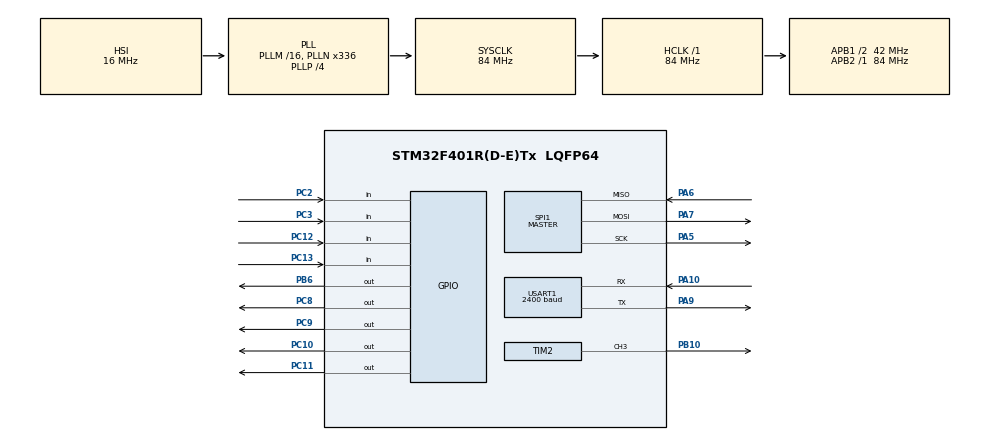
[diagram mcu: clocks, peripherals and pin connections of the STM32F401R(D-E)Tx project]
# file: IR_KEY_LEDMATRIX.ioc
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Dma.Request0=SPI1_TX
Dma.SPI1_TX.0.Direction=DMA_MEMORY_TO_PERIPH
Dma.SPI1_TX.0.FIFOMode=DMA_FIFOMODE_DISABLE
Dma.SPI1_TX.0.Instance=DMA2_Stream3
Dma.SPI1_TX.0.MemDataAlignment=DMA_MDATAALIGN_BYTE
Dma.SPI1_TX.0.MemInc=DMA_MINC_ENABLE
Dma.SPI1_TX.0.Mode=DMA_NORMAL
Dma.SPI1_TX.0.PeriphDataAlignment=DMA_PDATAALIGN_BYTE
Dma.SPI1_TX.0.PeriphInc=DMA_PINC_DISABLE
Dma.SPI1_TX.0.Priority=DMA_PRIORITY_HIGH
Mcu.Family=STM32F4
Mcu.Name=STM32F401R(D-E)Tx
Mcu.Package=LQFP64
NVIC.DMA2_Stream3_IRQn=true\:0\:0\:false\:false\:true\:false\:true\:true
NVIC.PriorityGroup=NVIC_PRIORITYGROUP_4
NVIC.SPI1_IRQn=true\:0\:0\:false\:false\:true\:true\:true\:true
NVIC.TIM3_IRQn=true\:0\:0\:false\:false\:true\:true\:true\:true
NVIC.TIM4_IRQn=true\:2\:0\:true\:false\:true\:true\:true\:true
NVIC.TIM5_IRQn=true\:3\:0\:true\:false\:true\:true\:true\:true
NVIC.USART1_IRQn=true\:1\:0\:true\:false\:true\:true\:true\:true
PA10.Mode=Asynchronous
PA10.Signal=USART1_RX
PA13.GPIO_Label=TMS
PA13.Mode=Trace_Asynchronous_SW
PA13.Signal=SYS_JTMS-SWDIO
PA14.GPIO_Label=TCK
PA14.Mode=Trace_Asynchronous_SW
PA14.Signal=SYS_JTCK-SWCLK
PA5.Mode=Full_Duplex_Master
PA5.Signal=SPI1_SCK
PA6.Mode=Full_Duplex_Master
PA6.Signal=SPI1_MISO
PA7.Mode=Full_Duplex_Master
PA7.Signal=SPI1_MOSI
PA9.Mode=Asynchronous
PA9.Signal=USART1_TX
PB10.Signal=S_TIM2_CH3
PB3.GPIO_Label=SWO
PB3.Mode=Trace_Asynchronous_SW
PB3.Signal=SYS_JTDO-SWO
PB6.Signal=GPIO_Output
PC10.Signal=GPIO_Output
PC11.Signal=GPIO_Output
PC12.Signal=GPIO_Input
PC13-ANTI_TAMP.Signal=GPIO_Input
PC14-OSC32_IN.Mode=LSE-External-Oscillator
PC14-OSC32_IN.Signal=RCC_OSC32_IN
PC15-OSC32_OUT.Mode=LSE-External-Oscillator
PC15-OSC32_OUT.Signal=RCC_OSC32_OUT
PC2.Signal=GPIO_Input
PC3.Signal=GPIO_Input
PC8.Signal=GPIO_Output
PC9.Signal=GPIO_Output
PH0\ -\ OSC_IN.Mode=HSE-External-Clock-Source
PH0\ -\ OSC_IN.Signal=RCC_OSC_IN
PH1\ -\ OSC_OUT.Mode=HSE-External-Clock-Source
PH1\ -\ OSC_OUT.Signal=RCC_OSC_OUT
ProjectManager.HeapSize=0x200
ProjectManager.StackSize=0x400
ProjectManager.TargetToolchain=STM32CubeIDE
RCC.48MHZClocksFreq_Value=48000000
RCC.AHBFreq_Value=84000000
RCC.APB1CLKDivider=RCC_HCLK_DIV2
RCC.APB1Freq_Value=42000000
RCC.APB1TimFreq_Value=84000000
RCC.APB2Freq_Value=84000000
RCC.APB2TimFreq_Value=84000000
RCC.CortexFreq_Value=84000000
RCC.HCLKFreq_Value=84000000
RCC.HSE_VALUE=8000000
RCC.HSI_VALUE=16000000
RCC.PLLN=336
RCC.PLLP=RCC_PLLP_DIV4
RCC.PLLQ=7
RCC.SYSCLKFreq_VALUE=84000000
RCC.SYSCLKSource=RCC_SYSCLKSOURCE_PLLCLK
RCC.VCOOutputFreq_Value=336000000
SH.S_TIM2_CH3.0=TIM2_CH3,PWM Generation3 CH3
SPI1.BaudRatePrescaler=SPI_BAUDRATEPRESCALER_4
SPI1.Direction=SPI_DIRECTION_2LINES
SPI1.Mode=SPI_MODE_MASTER
SPI1.VirtualType=VM_MASTER
TIM2.Channel-PWM\ Generation3\ CH3=TIM_CHANNEL_3
TIM2.Period=9
TIM2.Prescaler=220
TIM2.Pulse-PWM\ Generation3\ CH3=5
TIM3.Period=99
TIM3.Prescaler=349
TIM4.Period=19
TIM4.Prescaler=8399
TIM5.Period=3359
TIM5.Prescaler=99
USART1.BaudRate=2400
USART1.VirtualMode=VM_ASYNC
VP_TIM2_VS_ClockSourceINT.Mode=Internal
VP_TIM3_VS_ClockSourceINT.Mode=Internal
VP_TIM4_VS_ClockSourceINT.Mode=Internal
VP_TIM5_VS_ClockSourceINT.Mode=Internal
board=NUCLEO-F401RE

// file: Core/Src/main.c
/* USER CODE BEGIN Header */
/**
  ******************************************************************************
  * @file           : main.c
  * @brief          : Main program body
  ******************************************************************************
  * @attention
  *
  * Copyright (c) 2026 STMicroelectronics.
  * All rights reserved.
  *
  * This software is licensed under terms that can be found in the LICENSE file
  * in the root directory of this software component.
  * If no LICENSE file comes with this software, it is provided AS-IS.
  *
  ******************************************************************************
  */
/* USER CODE END Header */
#include "main.h"

/* USER CODE BEGIN Includes */
#include "stdio.h"
#include "string.h"

/* USER CODE END Includes */

/* USER CODE BEGIN PTD */
// Stati Tx IR
typedef enum {
    TX_STATE_IDLE  = 0,
    TX_STATE_START = 1,
    TX_STATE_DATA  = 2,
    TX_STATE_STOP  = 3
} TxState_t;

// Keyboard
typedef struct {
	char character;
	uint8_t duration;
	uint8_t sent;
	uint8_t idx;
} button;

typedef struct {
    GPIO_TypeDef* port;
    uint16_t pin;
} PinMap;
/* USER CODE END PTD */

/* USER CODE BEGIN PD */
// KEYBOARD
// Keyboard Rows/Columns
#define KEY_C0 GPIOC,GPIO_PIN_11
#define KEY_C1 GPIOC,GPIO_PIN_10
#define KEY_C2 GPIOC,GPIO_PIN_9
#define KEY_C3 GPIOC,GPIO_PIN_8
#define KEY_R0 GPIOC,GPIO_PIN_3
#define KEY_R1 GPIOC,GPIO_PIN_2
#define KEY_R2 GPIOC,GPIO_PIN_13
#define KEY_R3 GPIOC,GPIO_PIN_12

// Keyboard Dimension
#define DIM 4

// Keyboard Buttons
#define DEBOUNCE 3
#define MAX_DURATION 250

// LED MATRIX
#define NUM_COLS_LED 5
#define NUM_SYMBOLS 16
#define RCLK_PORT GPIOB
#define RCLK_PIN  GPIO_PIN_6

/* USER CODE END PD */

SPI_HandleTypeDef hspi1;
DMA_HandleTypeDef hdma_spi1_tx;

TIM_HandleTypeDef htim2;
TIM_HandleTypeDef htim3;
TIM_HandleTypeDef htim4;
TIM_HandleTypeDef htim5;

UART_HandleTypeDef huart1;

/* USER CODE BEGIN PV */
// KEYBOARD
PinMap columns[] = {
    { KEY_C3 },
    { KEY_C2 },
    { KEY_C1 },
    { KEY_C0 }
};

PinMap rows[] = {
    { KEY_R0 },
    { KEY_R1 },
    { KEY_R2 },
    { KEY_R3 }
};

volatile button keyboard[DIM][DIM] = {
    { {'C', 0, 0, 12}, {'D', 0, 0, 13}, {'E', 0, 0, 14}, {'F', 0, 0, 15} },
    { {'8', 0, 0, 8}, {'9', 0, 0, 9}, {'A', 0, 0, 10}, {'B', 0, 0, 11} },
    { {'4', 0, 0, 4}, {'5', 0, 0, 5}, {'6', 0, 0, 6}, {'7', 0, 0, 7} },
    { {'0', 0, 0, 0}, {'1', 0, 0, 1}, {'2', 0, 0, 2}, {'3', 0, 0, 3} }
};

uint8_t active_col = 0;

// TX IR
volatile uint8_t  tx_data_buffer = 'G';
volatile uint8_t  bit_counter = 0;
volatile TxState_t tx_state = TX_STATE_IDLE;

// RX IR
uint8_t rx_data_buffer; // Byte ricevuto dall'IR
volatile uint8_t ir_received_char = 0;
volatile uint8_t ir_data_ready = 0;

// LED MATRIX
static const uint8_t COL_LED[NUM_COLS_LED] = {16, 8, 4, 2, 1};
static const uint8_t SYMBOLS[NUM_SYMBOLS+1][NUM_COLS_LED] = {
    { 62,  69,  73,  81,  62}, // '0'
    {  0,  33, 127,   1,   0}, // '1'
    { 33,  67,  69,  73,  49}, // '2'
    { 34,  65,  73,  73,  54}, // '3'
    { 12,  20,  36, 127,   4}, // '4'
    {114,  81,  81,  81,  78}, // '5'
    { 30,  41,  73,  73,   6}, // '6'
    { 64,  71,  72,  80,  96}, // '7'
    { 54,  73,  73,  73,  54}, // '8'
    { 48,  73,  73,  74,  60}, // '9'
    { 63,  72,  72,  72,  63}, // 'A'
    {127,  73,  73,  73,  54}, // 'B'
    { 62,  65,  65,  65,  34}, // 'C'
    {127,  65,  65,  65,  62}, // 'D'
    {127,  73,  73,  73,  65}, // 'E'
    {127,  72,  72,  72,  64}, // 'F'
    {  0,   0,   0,   0,   0}  // spento
};
static volatile uint8_t sym_idx = NUM_SYMBOLS;   // cosa mostra la matrice (spenta se NUM_SYMBOLS)
static uint8_t col_cnt = 0;                // colonna della matrice in refresh

/* USER CODE END PV */

void SystemClock_Config(void);
static void MX_GPIO_Init(void);
static void MX_DMA_Init(void);
static void MX_TIM2_Init(void);
static void MX_TIM3_Init(void);
static void MX_TIM4_Init(void);
static void MX_USART1_UART_Init(void);
static void MX_SPI1_Init(void);
static void MX_TIM5_Init(void);

/* USER CODE BEGIN 0 */
static inline void spi_send(uint8_t col, uint8_t row){
	static uint8_t buffer[2]; // 2 byte
	// DAISY RING
	buffer[0]=row; // prima la riga
	buffer[1]=col; // poi la colonna

	// Ogni 4 ms trasmettiamo (refreshamo)
	HAL_SPI_Transmit_DMA(&hspi1, buffer, 2);
}

void HAL_SPI_TxCpltCallback(SPI_HandleTypeDef *hspi){
	if(hspi->Instance==SPI1){
		// Una volta terminata la comunicazione dei 2 byte
		// diamo un impulso su RCLK per far scattare il latch
		// dei due shift register
		HAL_GPIO_WritePin(RCLK_PORT, RCLK_PIN, GPIO_PIN_SET);
		HAL_GPIO_WritePin(RCLK_PORT, RCLK_PIN, GPIO_PIN_RESET);
	}
}

// Avvia l'invio di un singolo byte tramite IR UART
void IR_UART_SendByte(uint8_t data)
{
    // Solo se il canale TX è libero posso iniziare nuova trasmissione(IDLE)
    if (tx_state == TX_STATE_IDLE)
    {
        tx_data_buffer = data;
        tx_state = TX_STATE_START;      // Ci prepariamo a inviare lo Start Bit

        __HAL_TIM_SET_COUNTER(&htim3, 0); // Azzera CNT di TIM3 affinchè lo Start Bit duri un bit time pieno
        // e non di meno perchè magari CNT era ad un altro valore. CNT arriva a ARR (99) prima di andare in
        // overflow e scattare l'ISR, se dalla scorsa ricezione CNT era ad un altro valore non conta fino a
        // 100 ma di meno
        HAL_TIM_Base_Start_IT(&htim3); // TIM3 (2400 Hz) scandisce i bit nella Trasmissione IR
    }
}

void HAL_TIM_PeriodElapsedCallback(TIM_HandleTypeDef *htim)
{
    if (htim->Instance == TIM3) // 2400 Hz, scandisce i bit da mandare (TX IR)
    {
        switch (tx_state)
        {
            case TX_STATE_IDLE:
            	// HIGH -> LED OFF
                HAL_TIM_PWM_Stop(&htim2, TIM_CHANNEL_3);
                break;

            case TX_STATE_START:
            	// START BIT = LOW -> LED ON per 1/2400 s
                HAL_TIM_PWM_Start(&htim2, TIM_CHANNEL_3); // IR LED ON
                tx_state = TX_STATE_DATA; // Passa alla gestione dati
                bit_counter = 0;          // Resetta contatore bit dati
                break;

            case TX_STATE_DATA:
            	// Inviamo 8 bit
            	// Bit Masking
            	// Esempio '1': 0(1)00 0001  >> 6  =  0000 000(1)
            	// 0000 000(1) & 0000 0001 = 0000 0001
            	// Esempio '1': (0)100 0001  >> 7  =  0000 000(0)
				// 0000 000(0) & 0000 0001 = 0000 0000

                if (((tx_data_buffer >> bit_counter) & 0x01) == 0)
                {
                    // 0 -> LED ON
                	HAL_TIM_PWM_Start(&htim2, TIM_CHANNEL_3);
                }
                else
                {
                    // 1 -> LED OFF
                	HAL_TIM_PWM_Stop(&htim2, TIM_CHANNEL_3);
                }

                bit_counter++; // Avanziamo nel buffer

                if (bit_counter >= 8) // Quando abbiamo finito
                {
                    tx_state = TX_STATE_STOP;
                }
                break;

            case TX_STATE_STOP:
            	// STOP BIT = HIGH -> LED OFF
                HAL_TIM_PWM_Stop(&htim2, TIM_CHANNEL_3);

                // Ritorniamo in IDLE
                tx_state = TX_STATE_IDLE;
                // Finchè non premiamo altri tasti non abbiamo bisogno della Callback a 2400Hz
                HAL_TIM_Base_Stop_IT(&htim3);
                break;
        }
    }

    if (htim->Instance == TIM4) { // 500 Hz (scansione colonne KEYBOARD)
    	        for(int r=0; r<DIM; r++){
    	        	// Se il tasto è premuto
    	            if(HAL_GPIO_ReadPin(rows[r].port, rows[r].pin) == GPIO_PIN_RESET){
    	            	// Se è premuto da poco
    	                if(keyboard[r][active_col].duration < MAX_DURATION ) {
    	                    keyboard[r][active_col].duration++; // Aggiorniamo
    	                }
    	            } else { // Se il tasto non è premuto azzeriamo tutto
    	                keyboard[r][active_col].duration = 0;
    	                keyboard[r][active_col].sent = 0;
    	            }
    	        }
    	        // Deselezioniamo la colonna appena letta
    	        HAL_GPIO_WritePin(columns[active_col].port, columns[active_col].pin, GPIO_PIN_RESET);

    	        // Aggiorniamo la colonna da attivare
    	        active_col=(active_col+1) % DIM;

    	        // Attiviamo la nuova colonna
    	        HAL_GPIO_WritePin(columns[active_col].port, columns[active_col].pin, GPIO_PIN_SET);
	}

    if (htim->Instance == TIM5) { // 4ms, refresh colonne
    	spi_send(COL_LED[col_cnt], SYMBOLS[sym_idx][col_cnt]);
    	col_cnt=(col_cnt+1)%NUM_COLS_LED;
    }

}

void HAL_UART_RxCpltCallback(UART_HandleTypeDef *huart)
{
    if (huart->Instance == USART1)
    {
    	ir_received_char = rx_data_buffer;
    	ir_data_ready = 1; // Siamo pronti a scrivere sulla matrice Led
        HAL_UART_Receive_IT(&huart1, &rx_data_buffer, 1); // ci rimettiamo in ascolto
    }

}

/* Logica ASCII nel while
 * static uint8_t char_to_idx(uint8_t c)
{
    if (c >= '0' && c <= '9') return c - '0';
    if (c >= 'A' && c <= 'F') return c - 'A' + 10;
    return NUM_SYMBOLS;   // carattere sconosciuto -> matrice spenta
}
 */

/* USER CODE END 0 */

int main(void)
{

  /* MCU Configuration--------------------------------------------------------*/

  /* Reset of all peripherals, Initializes the Flash interface and the Systick. */
  HAL_Init();

  /* Configure the system clock */
  SystemClock_Config();

  /* Initialize all configured peripherals */
  MX_GPIO_Init();
  MX_DMA_Init();
  MX_TIM2_Init();
  MX_TIM3_Init();
  MX_TIM4_Init();
  MX_USART1_UART_Init();
  MX_SPI1_Init();
  MX_TIM5_Init();
  /* USER CODE BEGIN 2 */

  // Prepara alla ricezione la UART1
  HAL_UART_Receive_IT(&huart1, &rx_data_buffer, 1);

  // Prepara la scansione della keyboard
  HAL_TIM_Base_Start_IT(&htim4);
  HAL_GPIO_WritePin(columns[active_col].port, columns[active_col].pin, GPIO_PIN_SET);

  // Matrice Led
  HAL_TIM_Base_Start_IT(&htim5);

  /* USER CODE END 2 */

  /* Infinite loop */
  while (1)
  {

    /* USER CODE BEGIN 3 */
	  // --- KEYBOARD SCANNING ---
	  	  for(int j=0;j<DIM;j++){
	  	  		  for(int i=0;i<DIM;i++){
	  	  			  if((keyboard[i][j].duration>=DEBOUNCE)&&(keyboard[i][j].sent==0) ){
	  	  				  IR_UART_SendByte(keyboard[i][j].character);
	  	  				  keyboard[i][j].sent=1;
	  	  			  }
	  	  		  }
	  	  }

	  	  // MATRICE LED
	  	  if (ir_data_ready==1){
	  		  // Cerca l'idx del simbolo da mostrare

	  		  // Tramite i for
	  		  for (int j=0; j<DIM; j++){
	  			  for (int i=0; i<DIM; i++){
	  				  if(ir_received_char == keyboard[i][j].character){
	  					  sym_idx=keyboard[i][j].idx;
	  				  }
	  			  }
	  		  }
	  		  ir_data_ready = 0;

	  		  /* o tramite la logica ASCII
	  		   * if (ir_data_ready) {
					sym_idx = char_to_idx(ir_received_char);
					ir_data_ready = 0;
				}
	  		   */
	  	  }

  }
  /* USER CODE END 3 */
}

void SystemClock_Config(void)
{
  RCC_OscInitTypeDef RCC_OscInitStruct = {0};
  RCC_ClkInitTypeDef RCC_ClkInitStruct = {0};

  /** Configure the main internal regulator output voltage
  */
  __HAL_RCC_PWR_CLK_ENABLE();
  __HAL_PWR_VOLTAGESCALING_CONFIG(PWR_REGULATOR_VOLTAGE_SCALE2);

  /** Initializes the RCC Oscillators according to the specified parameters
  * in the RCC_OscInitTypeDef structure.
  */
  RCC_OscInitStruct.OscillatorType = RCC_OSCILLATORTYPE_HSI;
  RCC_OscInitStruct.HSIState = RCC_HSI_ON;
  RCC_OscInitStruct.HSICalibrationValue = RCC_HSICALIBRATION_DEFAULT;
  RCC_OscInitStruct.PLL.PLLState = RCC_PLL_ON;
  RCC_OscInitStruct.PLL.PLLSource = RCC_PLLSOURCE_HSI;
  RCC_OscInitStruct.PLL.PLLM = 16;
  RCC_OscInitStruct.PLL.PLLN = 336;
  RCC_OscInitStruct.PLL.PLLP = RCC_PLLP_DIV4;
  RCC_OscInitStruct.PLL.PLLQ = 7;
  if (HAL_RCC_OscConfig(&RCC_OscInitStruct) != HAL_OK)
  {
    Error_Handler();
  }

  /** Initializes the CPU, AHB and APB buses clocks
  */
  RCC_ClkInitStruct.ClockType = RCC_CLOCKTYPE_HCLK|RCC_CLOCKTYPE_SYSCLK
                              |RCC_CLOCKTYPE_PCLK1|RCC_CLOCKTYPE_PCLK2;
  RCC_ClkInitStruct.SYSCLKSource = RCC_SYSCLKSOURCE_PLLCLK;
  RCC_ClkInitStruct.AHBCLKDivider = RCC_SYSCLK_DIV1;
  RCC_ClkInitStruct.APB1CLKDivider = RCC_HCLK_DIV2;
  RCC_ClkInitStruct.APB2CLKDivider = RCC_HCLK_DIV1;

  if (HAL_RCC_ClockConfig(&RCC_ClkInitStruct, FLASH_LATENCY_2) != HAL_OK)
  {
    Error_Handler();
  }
}

static void MX_SPI1_Init(void)
{

  /* SPI1 parameter configuration*/
  hspi1.Instance = SPI1;
  hspi1.Init.Mode = SPI_MODE_MASTER;
  hspi1.Init.Direction = SPI_DIRECTION_2LINES;
  hspi1.Init.DataSize = SPI_DATASIZE_8BIT;
  hspi1.Init.CLKPolarity = SPI_POLARITY_LOW;
  hspi1.Init.CLKPhase = SPI_PHASE_1EDGE;
  hspi1.Init.NSS = SPI_NSS_SOFT;
  hspi1.Init.BaudRatePrescaler = SPI_BAUDRATEPRESCALER_4;
  hspi1.Init.FirstBit = SPI_FIRSTBIT_MSB;
  hspi1.Init.TIMode = SPI_TIMODE_DISABLE;
  hspi1.Init.CRCCalculation = SPI_CRCCALCULATION_DISABLE;
  hspi1.Init.CRCPolynomial = 10;
  if (HAL_SPI_Init(&hspi1) != HAL_OK)
  {
    Error_Handler();
  }

}

static void MX_TIM2_Init(void)
{

  TIM_ClockConfigTypeDef sClockSourceConfig = {0};
  TIM_MasterConfigTypeDef sMasterConfig = {0};
  TIM_OC_InitTypeDef sConfigOC = {0};

  htim2.Instance = TIM2;
  htim2.Init.Prescaler = 220;
  htim2.Init.CounterMode = TIM_COUNTERMODE_UP;
  htim2.Init.Period = 9;
  htim2.Init.ClockDivision = TIM_CLOCKDIVISION_DIV1;
  htim2.Init.AutoReloadPreload = TIM_AUTORELOAD_PRELOAD_DISABLE;
  if (HAL_TIM_Base_Init(&htim2) != HAL_OK)
  {
    Error_Handler();
  }
  sClockSourceConfig.ClockSource = TIM_CLOCKSOURCE_INTERNAL;
  if (HAL_TIM_ConfigClockSource(&htim2, &sClockSourceConfig) != HAL_OK)
  {
    Error_Handler();
  }
  if (HAL_TIM_PWM_Init(&htim2) != HAL_OK)
  {
    Error_Handler();
  }
  sMasterConfig.MasterOutputTrigger = TIM_TRGO_RESET;
  sMasterConfig.MasterSlaveMode = TIM_MASTERSLAVEMODE_DISABLE;
  if (HAL_TIMEx_MasterConfigSynchronization(&htim2, &sMasterConfig) != HAL_OK)
  {
    Error_Handler();
  }
  sConfigOC.OCMode = TIM_OCMODE_PWM1;
  sConfigOC.Pulse = 5;
  sConfigOC.OCPolarity = TIM_OCPOLARITY_HIGH;
  sConfigOC.OCFastMode = TIM_OCFAST_DISABLE;
  if (HAL_TIM_PWM_ConfigChannel(&htim2, &sConfigOC, TIM_CHANNEL_3) != HAL_OK)
  {
    Error_Handler();
  }
  HAL_TIM_MspPostInit(&htim2);

}

static void MX_TIM3_Init(void)
{

  TIM_ClockConfigTypeDef sClockSourceConfig = {0};
  TIM_MasterConfigTypeDef sMasterConfig = {0};

  htim3.Instance = TIM3;
  htim3.Init.Prescaler = 349;
  htim3.Init.CounterMode = TIM_COUNTERMODE_UP;
  htim3.Init.Period = 99;
  htim3.Init.ClockDivision = TIM_CLOCKDIVISION_DIV1;
  htim3.Init.AutoReloadPreload = TIM_AUTORELOAD_PRELOAD_DISABLE;
  if (HAL_TIM_Base_Init(&htim3) != HAL_OK)
  {
    Error_Handler();
  }
  sClockSourceConfig.ClockSource = TIM_CLOCKSOURCE_INTERNAL;
  if (HAL_TIM_ConfigClockSource(&htim3, &sClockSourceConfig) != HAL_OK)
  {
    Error_Handler();
  }
  sMasterConfig.MasterOutputTrigger = TIM_TRGO_RESET;
  sMasterConfig.MasterSlaveMode = TIM_MASTERSLAVEMODE_DISABLE;
  if (HAL_TIMEx_MasterConfigSynchronization(&htim3, &sMasterConfig) != HAL_OK)
  {
    Error_Handler();
  }

}

static void MX_TIM4_Init(void)
{

  TIM_ClockConfigTypeDef sClockSourceConfig = {0};
  TIM_MasterConfigTypeDef sMasterConfig = {0};

  htim4.Instance = TIM4;
  htim4.Init.Prescaler = 8399;
  htim4.Init.CounterMode = TIM_COUNTERMODE_UP;
  htim4.Init.Period = 19;
  htim4.Init.ClockDivision = TIM_CLOCKDIVISION_DIV1;
  htim4.Init.AutoReloadPreload = TIM_AUTORELOAD_PRELOAD_DISABLE;
  if (HAL_TIM_Base_Init(&htim4) != HAL_OK)
  {
    Error_Handler();
  }
  sClockSourceConfig.ClockSource = TIM_CLOCKSOURCE_INTERNAL;
  if (HAL_TIM_ConfigClockSource(&htim4, &sClockSourceConfig) != HAL_OK)
  {
    Error_Handler();
  }
  sMasterConfig.MasterOutputTrigger = TIM_TRGO_RESET;
  sMasterConfig.MasterSlaveMode = TIM_MASTERSLAVEMODE_DISABLE;
  if (HAL_TIMEx_MasterConfigSynchronization(&htim4, &sMasterConfig) != HAL_OK)
  {
    Error_Handler();
  }

}

static void MX_TIM5_Init(void)
{

  TIM_ClockConfigTypeDef sClockSourceConfig = {0};
  TIM_MasterConfigTypeDef sMasterConfig = {0};

  htim5.Instance = TIM5;
  htim5.Init.Prescaler = 99;
  htim5.Init.CounterMode = TIM_COUNTERMODE_UP;
  htim5.Init.Period = 3359;
  htim5.Init.ClockDivision = TIM_CLOCKDIVISION_DIV1;
  htim5.Init.AutoReloadPreload = TIM_AUTORELOAD_PRELOAD_DISABLE;
  if (HAL_TIM_Base_Init(&htim5) != HAL_OK)
  {
    Error_Handler();
  }
  sClockSourceConfig.ClockSource = TIM_CLOCKSOURCE_INTERNAL;
  if (HAL_TIM_ConfigClockSource(&htim5, &sClockSourceConfig) != HAL_OK)
  {
    Error_Handler();
  }
  sMasterConfig.MasterOutputTrigger = TIM_TRGO_RESET;
  sMasterConfig.MasterSlaveMode = TIM_MASTERSLAVEMODE_DISABLE;
  if (HAL_TIMEx_MasterConfigSynchronization(&htim5, &sMasterConfig) != HAL_OK)
  {
    Error_Handler();
  }

}

static void MX_USART1_UART_Init(void)
{

  huart1.Instance = USART1;
  huart1.Init.BaudRate = 2400;
  huart1.Init.WordLength = UART_WORDLENGTH_8B;
  huart1.Init.StopBits = UART_STOPBITS_1;
  huart1.Init.Parity = UART_PARITY_NONE;
  huart1.Init.Mode = UART_MODE_TX_RX;
  huart1.Init.HwFlowCtl = UART_HWCONTROL_NONE;
  huart1.Init.OverSampling = UART_OVERSAMPLING_16;
  if (HAL_UART_Init(&huart1) != HAL_OK)
  {
    Error_Handler();
  }

}

static void MX_DMA_Init(void)
{

  /* DMA controller clock enable */
  __HAL_RCC_DMA2_CLK_ENABLE();

  /* DMA interrupt init */
  /* DMA2_Stream3_IRQn interrupt configuration */
  HAL_NVIC_SetPriority(DMA2_Stream3_IRQn, 0, 0);
  HAL_NVIC_EnableIRQ(DMA2_Stream3_IRQn);

}

static void MX_GPIO_Init(void)
{
  GPIO_InitTypeDef GPIO_InitStruct = {0};

  /* GPIO Ports Clock Enable */
  __HAL_RCC_GPIOC_CLK_ENABLE();
  __HAL_RCC_GPIOH_CLK_ENABLE();
  __HAL_RCC_GPIOA_CLK_ENABLE();
  __HAL_RCC_GPIOB_CLK_ENABLE();

  /*Configure GPIO pin Output Level */
  HAL_GPIO_WritePin(GPIOC, GPIO_PIN_8|GPIO_PIN_9|GPIO_PIN_10|GPIO_PIN_11, GPIO_PIN_RESET);

  /*Configure GPIO pin Output Level */
  HAL_GPIO_WritePin(GPIOB, GPIO_PIN_6, GPIO_PIN_RESET);

  /*Configure GPIO pins : PC13 PC2 PC3 PC12 */
  GPIO_InitStruct.Pin = GPIO_PIN_13|GPIO_PIN_2|GPIO_PIN_3|GPIO_PIN_12;
  GPIO_InitStruct.Mode = GPIO_MODE_INPUT;
  GPIO_InitStruct.Pull = GPIO_NOPULL;
  HAL_GPIO_Init(GPIOC, &GPIO_InitStruct);

  /*Configure GPIO pins : PC8 PC9 PC10 PC11 */
  GPIO_InitStruct.Pin = GPIO_PIN_8|GPIO_PIN_9|GPIO_PIN_10|GPIO_PIN_11;
  GPIO_InitStruct.Mode = GPIO_MODE_OUTPUT_PP;
  GPIO_InitStruct.Pull = GPIO_NOPULL;
  GPIO_InitStruct.Speed = GPIO_SPEED_FREQ_LOW;
  HAL_GPIO_Init(GPIOC, &GPIO_InitStruct);

  /*Configure GPIO pin : PB6 */
  GPIO_InitStruct.Pin = GPIO_PIN_6;
  GPIO_InitStruct.Mode = GPIO_MODE_OUTPUT_PP;
  GPIO_InitStruct.Pull = GPIO_NOPULL;
  GPIO_InitStruct.Speed = GPIO_SPEED_FREQ_LOW;
  HAL_GPIO_Init(GPIOB, &GPIO_InitStruct);

}

void Error_Handler(void)
{
  __disable_irq();
  while (1)
  {
  }
}
